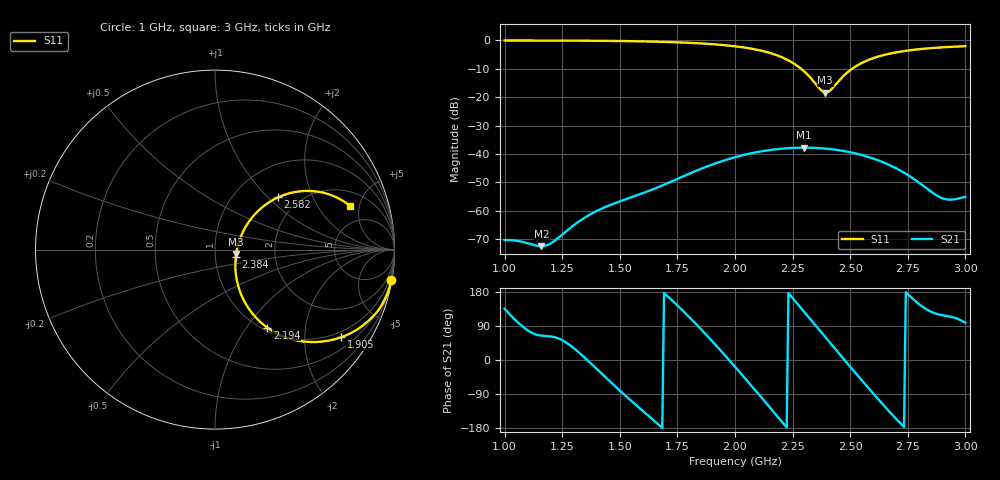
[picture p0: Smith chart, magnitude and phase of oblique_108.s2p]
! TOUCHSTONE file generated by CST MICROWAVE STUDIO
! Date and time: Tue Mar 18 00:01:50 2025
! Project name: oblique.cst
! Parameters = {Tilt=30; Fracture=1; B=12.5; D=160; F=25; Feed=2.85625; L=100; M=50; R=0.384908; S=2; Theta=270; length=57.125; wave=114.25}
! Header version: 2024
! Port assignment regex: !\s*Touchstone port\s*([0-9]+)\s*=\s*(CST MWS port|CST DES external port|CST DES block port)\s*(.+)\s* \(\"(.*)\"\)(\s*mode\s*([0-9]+))?.*
! Touchstone port assignment:
! Touchstone port 1 = CST MWS port 1 ("")
! Touchstone port 2 = CST MWS port 2 ("")
# GHz S DB R 50
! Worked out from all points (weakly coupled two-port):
!   264 points, 1 GHz to 3 GHz, reference 50 ohm
!   highest |S21| = -37.80 dB at 2.3 GHz (marker M1); lowest = -72.5 dB at 1.16 GHz (marker M2)
!   lowest |S11| = -18.4 dB at 2.392 GHz (marker M3), VSWR 1.27, Z = 63.3 - j3.17 ohm
!   |S11| at or under -10 dB: 2.287 GHz to 2.508 GHz (221.2 MHz wide, 9.23 % of centre)
!   S12 and S22 are empty: the file has one direction only
!   S11 on the Smith chart (normalised r, x): 1 GHz: 0, -12; 1.905 GHz: 0.82, -2.99; 2.194 GHz: 1.05, -1.26; 2.384 GHz: 1.26, -0.11; 2.582 GHz: 1.57, +1.15; 3 GHz: 3.09, +4.02
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1  -0.02 -9.8  -70.36 135.1  -200.00 0.0  -200.00 0.0
1.1597  -0.04 -12.1  -72.52 64.1  -200.00 0.0  -200.00 0.0
1.20532  -0.05 -12.9  -71.30 61.7  -200.00 0.0  -200.00 0.0
1.3346  -0.10 -15.3  -63.14 13.3  -200.00 0.0  -200.00 0.0
1.44106  -0.16 -17.7  -58.58 -47.2  -200.00 0.0  -200.00 0.0
1.6692  -0.48 -24.4  -51.64 -171.0  -200.00 0.0  -200.00 0.0
1.90494  -1.35 -34.7  -43.63 47.0  -200.00 0.0  -200.00 0.0
2.0038  -2.11 -40.8  -41.09 -20.4  -200.00 0.0  -200.00 0.0
2.11027  -3.55 -49.0  -39.16 -95.7  -200.00 0.0  -200.00 0.0
2.19392  -5.62 -56.1  -38.23 -155.9  -200.00 0.0  -200.00 0.0
2.30038  -10.92 -59.6  -37.80 126.8  -200.00 0.0  -200.00 0.0
2.3384  -14.17 -52.6  -37.85 99.1  -200.00 0.0  -200.00 0.0
2.38403  -18.17 -20.5  -38.07 65.9  -200.00 0.0  -200.00 0.0
2.39163  -18.38 -11.8  -38.12 60.4  -200.00 0.0  -200.00 0.0
2.41445  -17.54 12.8  -38.31 43.9  -200.00 0.0  -200.00 0.0
2.4981  -10.61 41.5  -39.38 -16.5  -200.00 0.0  -200.00 0.0
2.58175  -6.81 39.6  -41.14 -75.8  -200.00 0.0  -200.00 0.0
2.673  -4.63 33.8  -44.01 -138.1  -200.00 0.0  -200.00 0.0
2.75665  -3.50 28.6  -47.76 169.9  -200.00 0.0  -200.00 0.0
2.89354  -2.48 21.9  -55.42 119.0  -200.00 0.0  -200.00 0.0
2.93916  -2.27 20.1  -56.10 114.0  -200.00 0.0  -200.00 0.0
3  -2.05 18.0  -55.12 98.2  -200.00 0.0  -200.00 0.0
